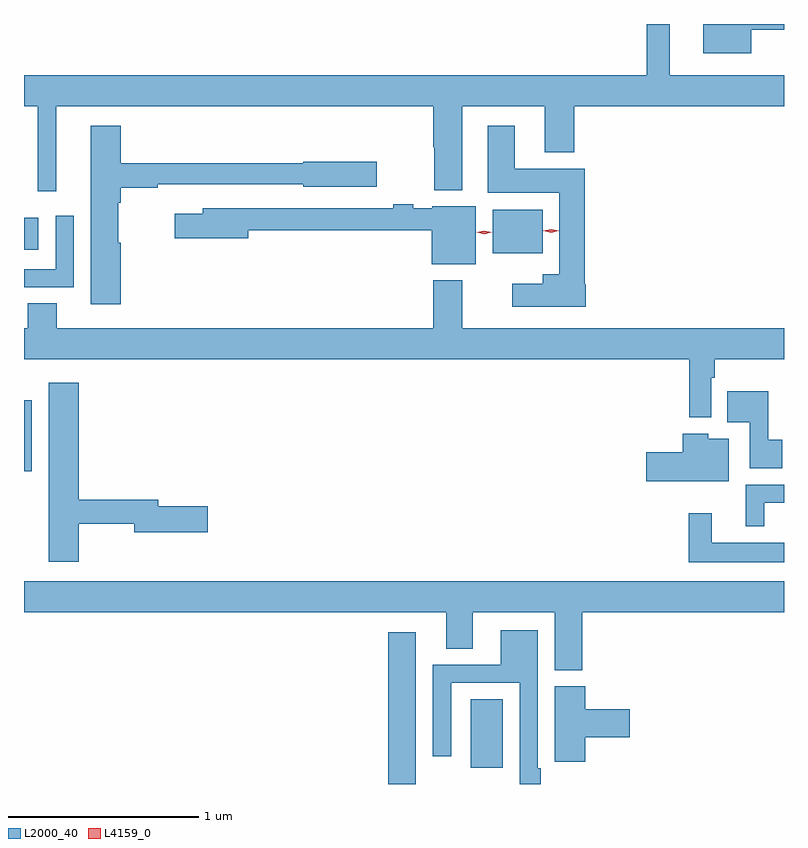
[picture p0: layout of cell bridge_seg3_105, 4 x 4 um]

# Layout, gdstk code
import gdstk
lib = gdstk.Library(unit=1e-6, precision=1e-09)
def R(c, l, rs):  # rectangles x0, y0, x1, y1
    for r in rs: c.add(gdstk.rectangle(r[:2], r[2:], *l))
def P(c, l, *ps):  # polygons
    for p in ps: c.add(gdstk.Polygon(p, *l))
L2000_40 = (2000, 40)
L4159_0 = (4159, 0)

bridge_seg3_105 = lib.new_cell('bridge_seg3_105')
R(bridge_seg3_105, L2000_40, [(556.292,726.653,556.438,727.453), (556.727,726.738,556.894,727.1), (554.375,728.298,554.415,728.673), (556.841,729.446,557.104,729.676), (554.375,729.464,554.449,729.634)])
P(bridge_seg3_105, L2000_40, [(554.546,730.22),(556.529,730.22),(556.529,730.005),(556.534,730.005),(556.534,729.779),(556.681,729.779),(556.681,730.22),(557.117,730.22),(557.117,729.977),(557.27,729.977),(557.27,730.22),(558.375,730.22),(558.375,730.384),(557.773,730.384),(557.773,730.653),(557.652,730.653),(557.652,730.384),(554.375,730.384),(554.375,730.22),(554.447,730.22),(554.447,729.774),(554.546,729.774)],
  [(558.202,730.622),(558.375,730.622),(558.375,730.653),(557.951,730.653),(557.951,730.499),(558.202,730.499)],
  [(554.885,729.501),(554.872,729.501),(554.872,729.713),(554.885,729.713),(554.885,729.79),(555.08,729.79),(555.08,729.81),(555.846,729.81),(555.846,729.797),(556.231,729.797),(556.231,729.927),(555.846,729.927),(555.846,729.919),(554.885,729.919),(554.885,730.117),(554.726,730.117),(554.726,729.177),(554.885,729.177)],
  [(557.332,729.282),(557.327,729.282),(557.327,729.892),(556.957,729.892),(556.957,730.117),(556.817,730.117),(556.817,729.764),(557.192,729.764),(557.192,729.337),(557.105,729.337),(557.105,729.286),(556.944,729.286),(556.944,729.164),(557.332,729.164)],
  [(556.753,729.694),(556.524,729.694),(556.524,729.684),(556.424,729.684),(556.424,729.704),(556.318,729.704),(556.318,729.684),(555.317,729.684),(555.317,729.655),(555.168,729.655),(555.168,729.526),(555.556,729.526),(555.556,729.568),(556.52,729.568),(556.52,729.389),(556.753,729.389)],
  [(554.637,729.643),(554.541,729.643),(554.541,729.363),(554.375,729.363),(554.375,729.267),(554.637,729.267)],
  [(557.991,728.792),(558.011,728.792),(558.011,728.888),(558.375,728.888),(558.375,729.052),(556.681,729.052),(556.681,729.304),(556.529,729.304),(556.529,729.052),(554.548,729.052),(554.548,729.182),(554.396,729.182),(554.396,729.052),(554.375,729.052),(554.375,728.888),(557.875,728.888),(557.875,728.582),(557.991,728.582)],
  [(554.663,728.022),(554.954,728.022),(554.954,727.979),(555.343,727.979),(555.343,728.114),(555.082,728.114),(555.082,728.15),(554.663,728.15),(554.663,728.764),(554.504,728.764),(554.504,727.824),(554.663,727.824)],
  [(558.365,728.466),(558.292,728.466),(558.292,728.719),(558.076,728.719),(558.076,728.558),(558.195,728.558),(558.195,728.314),(558.365,728.314)],
  [(558.085,728.47),(557.976,728.47),(557.976,728.497),(557.843,728.497),(557.843,728.399),(557.649,728.399),(557.649,728.246),(558.085,728.246)],
  [(558.271,728.133),(558.375,728.133),(558.375,728.229),(558.173,728.229),(558.173,728.009),(558.271,728.009)],
  [(558.375,727.924),(557.995,727.924),(557.995,728.077),(557.874,728.077),(557.874,727.82),(558.375,727.82)],
  [(557.312,727.556),(558.375,727.556),(558.375,727.72),(554.375,727.72),(554.375,727.556),(556.598,727.556),(556.598,727.366),(556.738,727.366),(556.738,727.556),(557.168,727.556),(557.168,727.252),(557.312,727.252)],
  [(557.095,726.736),(557.079,726.736),(557.079,727.462),(556.883,727.462),(556.883,727.281),(556.527,727.281),(556.527,726.798),(556.623,726.798),(556.623,727.185),(556.983,727.185),(556.983,726.653),(557.095,726.653)],
  [(557.33,726.899),(557.563,726.899),(557.563,727.046),(557.33,727.046),(557.33,727.167),(557.168,727.167),(557.168,726.883),(557.169,726.883),(557.169,726.771),(557.33,726.771)])
P(bridge_seg3_105, L4159_0, [(557.149,729.554),(557.108,729.564),(557.108,729.564),(557.108,729.564),(557.149,729.574),(557.189,729.565),(557.19,729.565),(557.189,729.564)],
  [(556.798,729.546),(556.759,729.556),(556.759,729.556),(556.759,729.556),(556.797,729.566),(556.836,729.557),(556.836,729.556),(556.836,729.556)])

lib.write_gds('bridge_seg3_105.gds')
